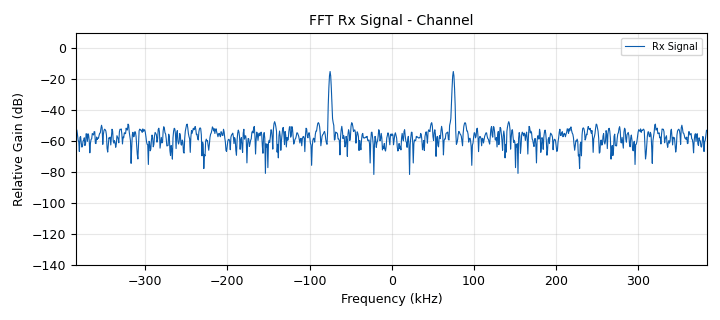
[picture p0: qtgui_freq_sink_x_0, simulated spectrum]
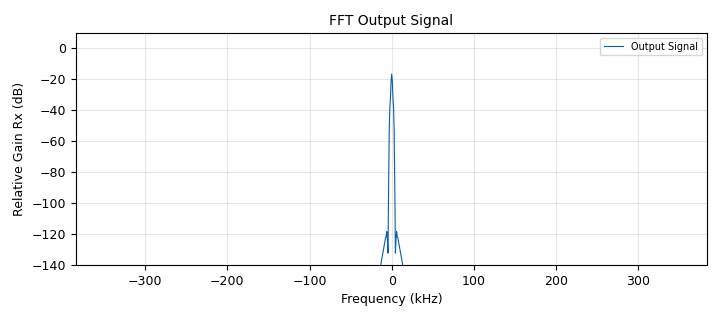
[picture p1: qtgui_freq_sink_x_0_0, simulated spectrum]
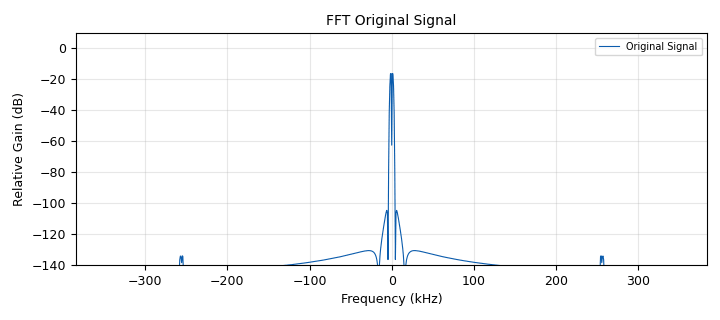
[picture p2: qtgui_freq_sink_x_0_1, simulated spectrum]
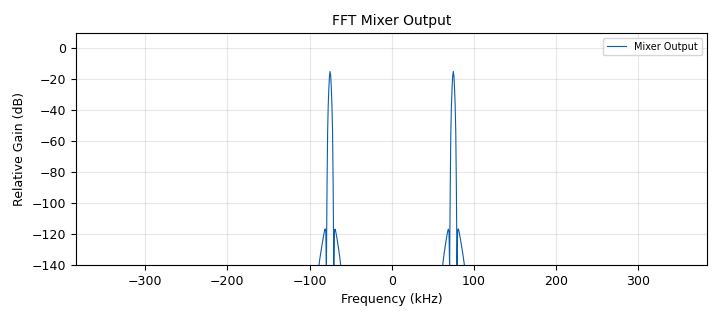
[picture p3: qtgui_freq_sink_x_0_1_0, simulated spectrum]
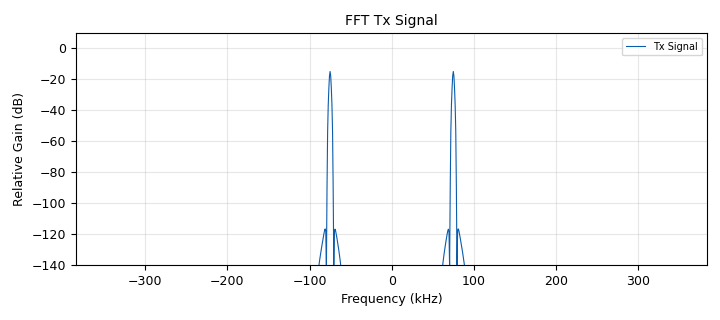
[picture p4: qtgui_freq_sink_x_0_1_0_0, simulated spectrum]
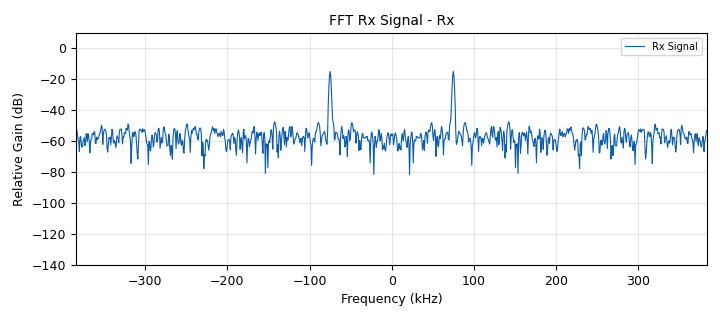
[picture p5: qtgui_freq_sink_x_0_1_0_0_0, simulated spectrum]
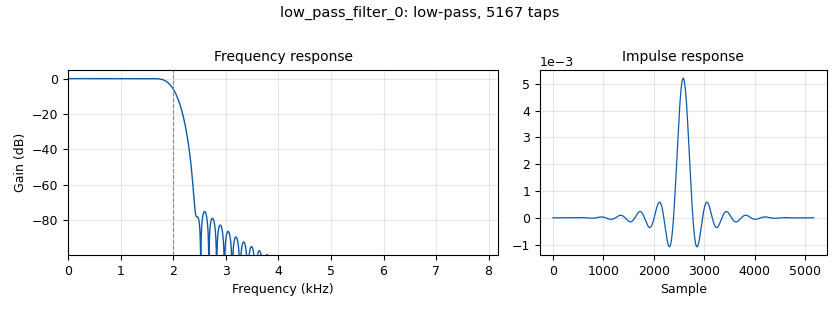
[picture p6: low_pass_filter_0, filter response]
options:
  parameters:
    author: 60383 60556 60841
    generate_options: qt_gui
    id: teste
    output_language: python
    title: LAB1 CSRF - 60383 60556 60841
  states: {}

blocks:
- name: a1
  id: variable_qtgui_range
  parameters:
    start: '0'
    step: '20e-3'
    stop: '2'
    value: '1'
  states: {}
- name: a2
  id: variable_qtgui_range
  parameters:
    start: '0'
    step: '20e-3'
    stop: '1'
    value: '0'
  states: {}
- name: a3
  id: variable_qtgui_range
  parameters:
    start: '0'
    step: '20e-3'
    stop: '1'
    value: '0'
  states: {}
- name: noise_level
  id: variable_qtgui_range
  parameters:
    start: '0'
    step: '5e-3'
    stop: '300e-3'
    value: '100e-3'
  states: {}
- name: samp_rate
  id: variable
  parameters:
    value: 768e3
  states: {}
- name: analog_const_source_x_0
  id: analog_const_source_x
  parameters:
    const: '0'
    type: float
  states: {}
- name: analog_noise_source_x_0_1
  id: analog_noise_source_x
  parameters:
    amp: noise_level
    noise_type: analog.GR_GAUSSIAN
    seed: '0'
    type: float
  states: {}
- name: analog_sig_source_x_0
  id: analog_sig_source_x
  parameters:
    amp: '1'
    freq: '1000'
    offset: '0'
    phase: '0'
    samp_rate: samp_rate
    type: float
    waveform: analog.GR_COS_WAVE
  states: {}
- name: analog_sig_source_x_1
  id: analog_sig_source_x
  parameters:
    amp: '1'
    freq: 75e3
    offset: '0'
    phase: '0'
    samp_rate: samp_rate
    type: float
    waveform: analog.GR_COS_WAVE
  states: {}
- name: analog_sig_source_x_1_0_0_0
  id: analog_sig_source_x
  parameters:
    amp: '1'
    freq: 75e3
    offset: '0'
    phase: '0'
    samp_rate: samp_rate
    type: float
    waveform: analog.GR_SIN_WAVE
  states: {}
- name: analog_sig_source_x_1_0_1
  id: analog_sig_source_x
  parameters:
    amp: '1'
    freq: 75e3
    offset: '0'
    phase: '0'
    samp_rate: samp_rate
    type: float
    waveform: analog.GR_COS_WAVE
  states: {}
- name: audio_sink_0
  id: audio_sink
  parameters:
    samp_rate: '48000'
  states: {state: disabled}
- name: blocks_add_const_vxx_0
  id: blocks_add_const_vxx
  parameters:
    const: '1'
    type: float
  states: {}
- name: blocks_add_xx_0
  id: blocks_add_xx
  parameters:
    type: float
  states: {}
- name: blocks_add_xx_0_0
  id: blocks_add_xx
  parameters:
    type: float
  states: {}
- name: blocks_add_xx_1
  id: blocks_add_xx
  parameters:
    num_inputs: '3'
    type: complex
  states: {}
- name: blocks_complex_to_float_0
  id: blocks_complex_to_float
  parameters: {}
  states: {}
- name: blocks_complex_to_float_0_0
  id: blocks_complex_to_float
  parameters: {}
  states: {}
- name: blocks_complex_to_float_1
  id: blocks_complex_to_float
  parameters: {}
  states: {}
- name: blocks_complex_to_mag_0
  id: blocks_complex_to_mag
  parameters: {}
  states: {}
- name: blocks_divide_xx_1
  id: blocks_divide_xx
  parameters:
    type: float
  states: {}
- name: blocks_exponentiate_const_cci_0
  id: blocks_exponentiate_const_cci
  parameters:
    exponent: '2'
  states: {}
- name: blocks_exponentiate_const_cci_0_0
  id: blocks_exponentiate_const_cci
  parameters:
    exponent: '3'
  states: {}
- name: blocks_float_to_complex_0_0
  id: blocks_float_to_complex
  parameters: {}
  states: {}
- name: blocks_float_to_complex_1
  id: blocks_float_to_complex
  parameters: {}
  states: {}
- name: blocks_multiply_const_vxx_0
  id: blocks_multiply_const_vxx
  parameters:
    const: '0.5'
    type: float
  states: {}
- name: blocks_multiply_const_vxx_0_0
  id: blocks_multiply_const_vxx
  parameters:
    const: '1'
    type: float
  states: {}
- name: blocks_multiply_const_vxx_0_1
  id: blocks_multiply_const_vxx
  parameters:
    const: a1
    type: complex
  states: {}
- name: blocks_multiply_const_vxx_0_1_0
  id: blocks_multiply_const_vxx
  parameters:
    const: a2
    type: complex
  states: {}
- name: blocks_multiply_const_vxx_0_1_1
  id: blocks_multiply_const_vxx
  parameters:
    const: a3
    type: complex
  states: {}
- name: blocks_multiply_const_vxx_0_2
  id: blocks_multiply_const_vxx
  parameters:
    const: '1'
    type: float
  states: {}
- name: blocks_multiply_xx_0
  id: blocks_multiply_xx
  parameters:
    type: float
  states: {}
- name: blocks_multiply_xx_0_0
  id: blocks_multiply_xx
  parameters:
    type: float
  states: {}
- name: blocks_multiply_xx_0_1
  id: blocks_multiply_xx
  parameters:
    type: float
  states: {}
- name: blocks_nlog10_ff_0
  id: blocks_nlog10_ff
  parameters:
    k: '0'
    n: '20'
  states: {}
- name: blocks_rms_xx_0
  id: blocks_rms_xx
  parameters:
    alpha: '0.0001'
    type: float
  states: {}
- name: blocks_rms_xx_1
  id: blocks_rms_xx
  parameters:
    alpha: '0.0001'
    type: float
  states: {}
- name: blocks_throttle2_0
  id: blocks_throttle2
  parameters:
    samples_per_second: samp_rate
    type: float
  states: {}
- name: blocks_throttle2_0_0
  id: blocks_throttle2
  parameters:
    samples_per_second: samp_rate
    type: float
  states: {}
- name: blocks_wavfile_source_0
  id: blocks_wavfile_source
  parameters:
    file: C:\Users\td\Desktop\uni\csrf\github\csrf\lab1\gnu-radio\pedro.wav
    repeat: 'True'
  states: {state: disabled}
- name: low_pass_filter_0
  id: low_pass_filter
  parameters:
    cutoff_freq: 2e3
    decim: '1'
    gain: '1'
    samp_rate: samp_rate
    type: fir_filter_fff
    width: '500'
    win: window.WIN_BLACKMAN
  states: {}
- name: low_pass_filter_0_0
  id: low_pass_filter
  parameters:
    cutoff_freq: 2e3
    decim: '1'
    gain: '1'
    samp_rate: samp_rate
    type: fir_filter_fff
    width: '500'
    win: window.WIN_BLACKMAN
  states: {}
- name: qtgui_freq_sink_x_0
  id: qtgui_freq_sink_x
  parameters:
    alias: Rx signal
    bw: samp_rate
    fc: '0'
    fftsize: '1024'
    grid: 'True'
    gui_hint: tab_manager_slave_ch@1:3,1
    label1: Rx Signal
    name: FFT Rx Signal - Channel
    type: float
    width1: '3'
  states: {}
- name: qtgui_freq_sink_x_0_0
  id: qtgui_freq_sink_x
  parameters:
    bw: samp_rate
    fc: '0'
    fftsize: '1024'
    grid: 'True'
    gui_hint: tab_manager_slave_slave_rx_output_signal@1
    label: Relative Gain Rx
    label1: Output Signal
    name: FFT Output Signal
    type: float
    width1: '3'
  states: {}
- name: qtgui_freq_sink_x_0_1
  id: qtgui_freq_sink_x
  parameters:
    bw: samp_rate
    fc: '0'
    fftsize: '1024'
    grid: 'True'
    gui_hint: tab_manager_slave_slave_tx_original_signal@1
    label1: Original Signal
    name: FFT Original Signal
    type: float
    width1: '3'
  states: {}
- name: qtgui_freq_sink_x_0_1_0
  id: qtgui_freq_sink_x
  parameters:
    bw: samp_rate
    fc: '0'
    fftsize: '1024'
    grid: 'True'
    gui_hint: tab_manager_slave_slave_tx_mixer_output@1
    label1: Mixer Output
    name: FFT Mixer Output
    type: float
    width1: '3'
  states: {}
- name: qtgui_freq_sink_x_0_1_0_0
  id: qtgui_freq_sink_x
  parameters:
    bw: samp_rate
    fc: '0'
    fftsize: '1024'
    gui_hint: tab_manager_slave_slave_tx_tx_signal@1
    label1: Tx Signal
    name: FFT Tx Signal
    type: float
    width1: '3'
  states: {}
- name: qtgui_freq_sink_x_0_1_0_0_0
  id: qtgui_freq_sink_x
  parameters:
    bw: samp_rate
    fc: '0'
    fftsize: '1024'
    grid: 'True'
    gui_hint: tab_manager_slave_slave_rx_rx_signal@1
    label1: Rx Signal
    name: FFT Rx Signal - Rx
    type: float
    width1: '3'
  states: {}
- name: qtgui_freq_sink_x_0_1_0_0_0_0_0
  id: qtgui_freq_sink_x
  parameters:
    bw: samp_rate
    fc: '0'
    fftsize: '1024'
    grid: 'True'
    gui_hint: tab_manager_slave_ch@1:2,1
    label1: Tx Signal
    name: FFT Tx Signal - Channel
    type: float
    width1: '3'
  states: {}
- name: qtgui_number_sink_snr_freqfreq
  id: qtgui_number_sink
  parameters:
    color1: ("white", "black")
    graph_type: qtgui.NUM_GRAPH_HORIZ
    gui_hint: tab_manager_slave_ch@1:1,1
    label1: SNR
    max: '50'
    min: '-50'
    name: SNR(dB)
    type: float
    unit1: dB
  states: {}
- name: qtgui_number_sink_snr_time
  id: qtgui_number_sink
  parameters:
    color1: ("white", "black")
    graph_type: qtgui.NUM_GRAPH_HORIZ
    gui_hint: tab_manager_slave_ch@0:1,1
    label1: SNR
    max: '50'
    min: '-50'
    name: SNR(dB)
    type: float
    unit1: dB
  states: {}
- name: qtgui_time_sink_x_0_0_0_0
  id: qtgui_time_sink_x
  parameters:
    grid: 'True'
    gui_hint: tab_manager_slave_slave_rx_output_signal@0
    label1: Output Signal
    name: Output Signal
    size: '1024'
    srate: samp_rate
    type: float
    width1: '3'
    ymin: '0'
    yunit: V
  states: {}
- name: qtgui_time_sink_x_0_0_0_1
  id: qtgui_time_sink_x
  parameters:
    grid: 'True'
    gui_hint: tab_manager_slave_slave_tx_original_signal@0
    label1: Original Signal
    name: Original Signal
    size: '1024'
    srate: samp_rate
    type: float
    update_time: '0.1'
    width1: '3'
    ymax: '2'
    ymin: '-2'
    yunit: V
  states: {}
- name: qtgui_time_sink_x_0_0_0_1_0
  id: qtgui_time_sink_x
  parameters:
    grid: 'True'
    gui_hint: tab_manager_slave_slave_tx_mixer_output@0
    label1: Mixer Output
    name: Mixer Output
    size: '1024'
    srate: samp_rate
    type: float
    width1: '3'
    ymax: '2'
    ymin: '-2'
    yunit: V
  states: {}
- name: qtgui_time_sink_x_0_0_0_1_0_0
  id: qtgui_time_sink_x
  parameters:
    grid: 'True'
    gui_hint: 'tab_manager_slave_slave_tx_tx_signal@0 '
    label1: Tx Signal
    name: Tx Signal
    size: '1024'
    srate: samp_rate
    type: float
    width1: '3'
    ymax: '3'
    ymin: '-3'
    yunit: V
  states: {}
- name: qtgui_time_sink_x_0_0_0_1_0_0_0
  id: qtgui_time_sink_x
  parameters:
    grid: 'True'
    gui_hint: tab_manager_slave_slave_rx_rx_signal@0
    label1: Rx Signal
    name: Rx Signal - Rx
    size: '1024'
    srate: samp_rate
    type: float
    width1: '3'
    ymax: '2'
    ymin: '-2'
    yunit: V
  states: {}
- name: qtgui_time_sink_x_0_0_0_1_0_0_0_0_0
  id: qtgui_time_sink_x
  parameters:
    grid: 'True'
    gui_hint: 'tab_manager_slave_ch@0 : 3,1'
    label1: Rx Signal
    name: Rx Signal - Channel
    size: '1024'
    srate: samp_rate
    type: float
    width1: '3'
    ymax: '2'
    ymin: '-2'
    yunit: V
  states: {}
- name: qtgui_time_sink_x_0_0_0_1_0_0_0_0_1
  id: qtgui_time_sink_x
  parameters:
    grid: 'True'
    gui_hint: tab_manager_slave_ch@0:2,1
    label1: Tx Signal
    name: Tx Signal - Channel
    size: '1024'
    srate: samp_rate
    type: float
    width1: '3'
    ymax: '2'
    ymin: '-2'
    yunit: V
  states: {}
- name: tab_manager_master
  id: qtgui_tab_widget
  parameters:
    label0: Transmitter
    label1: Channel
    label2: Receiver
    num_tabs: '3'
  states: {}
- name: tab_manager_slave_ch
  id: qtgui_tab_widget
  parameters:
    gui_hint: tab_manager_master@1
    label0: Time
    label1: Frequency
    num_tabs: '2'
  states: {}
- name: tab_manager_slave_rx
  id: qtgui_tab_widget
  parameters:
    gui_hint: tab_manager_master@2
    label0: Rx signal
    label1: Output Signal
    num_tabs: '2'
  states: {}
- name: tab_manager_slave_slave_rx_output_signal
  id: qtgui_tab_widget
  parameters:
    gui_hint: tab_manager_slave_rx@1
    label0: Time
    label1: Frequency
    num_tabs: '2'
  states: {}
- name: tab_manager_slave_slave_rx_rx_signal
  id: qtgui_tab_widget
  parameters:
    gui_hint: tab_manager_slave_rx@0
    label0: Time
    label1: Frequency
    num_tabs: '2'
  states: {}
- name: tab_manager_slave_slave_tx_mixer_output
  id: qtgui_tab_widget
  parameters:
    gui_hint: tab_manager_slave_tx@1
    label0: Time
    label1: Frequency
    num_tabs: '2'
  states: {}
- name: tab_manager_slave_slave_tx_original_signal
  id: qtgui_tab_widget
  parameters:
    gui_hint: tab_manager_slave_tx@0
    label0: Time
    label1: Frequency
    num_tabs: '2'
  states: {}
- name: tab_manager_slave_slave_tx_tx_signal
  id: qtgui_tab_widget
  parameters:
    gui_hint: tab_manager_slave_tx@2
    label0: Time
    label1: Frequency
    num_tabs: '2'
  states: {}
- name: tab_manager_slave_tx
  id: qtgui_tab_widget
  parameters:
    gui_hint: tab_manager_master@0
    label0: Original Signal
    label1: Mixer Output
    label2: Tx signal
    num_tabs: '3'
  states: {}
- name: virtual_sink_0
  id: virtual_sink
  parameters:
    stream_id: tx_signal
  states: {}
- name: virtual_sink_0_0
  id: virtual_sink
  parameters:
    stream_id: noise_signal
  states: {}
- name: virtual_source_0
  id: virtual_source
  parameters:
    stream_id: tx_signal
  states: {}
- name: virtual_source_0_0
  id: virtual_source
  parameters:
    stream_id: noise_signal
  states: {}
- name: virtual_source_0_0_0
  id: virtual_source
  parameters:
    stream_id: noise_signal
  states: {}
- name: virtual_source_0_1
  id: virtual_source
  parameters:
    stream_id: tx_signal
  states: {}

connections:
- [analog_const_source_x_0, '0', blocks_float_to_complex_0_0, '1']
- [analog_noise_source_x_0_1, '0', virtual_sink_0_0, '0']
- [analog_sig_source_x_0, '0', blocks_throttle2_0, '0']
- [analog_sig_source_x_0, '0', qtgui_freq_sink_x_0_1, '0']
- [analog_sig_source_x_0, '0', qtgui_time_sink_x_0_0_0_1, '0']
- [analog_sig_source_x_1, '0', blocks_multiply_const_vxx_0_0, '0']
- [analog_sig_source_x_1_0_0_0, '0', blocks_multiply_xx_0_1, '1']
- [analog_sig_source_x_1_0_1, '0', blocks_multiply_xx_0_0, '0']
- [blocks_add_const_vxx_0, '0', blocks_multiply_xx_0, '0']
- [blocks_add_xx_0, '0', blocks_multiply_const_vxx_0_2, '0']
- [blocks_add_xx_0, '0', qtgui_freq_sink_x_0_1_0_0_0, '0']
- [blocks_add_xx_0, '0', qtgui_time_sink_x_0_0_0_1_0_0_0, '0']
- [blocks_add_xx_0_0, '0', blocks_throttle2_0_0, '0']
- [blocks_add_xx_1, '0', blocks_complex_to_float_1, '0']
- [blocks_add_xx_1, '0', virtual_sink_0, '0']
- [blocks_complex_to_float_0, '0', blocks_add_xx_0, '0']
- [blocks_complex_to_float_0_0, '0', blocks_add_xx_0_0, '0']
- [blocks_complex_to_float_0_0, '0', blocks_rms_xx_0, '0']
- [blocks_complex_to_float_0_0, '0', qtgui_freq_sink_x_0_1_0_0_0_0_0, '0']
- [blocks_complex_to_float_0_0, '0', qtgui_time_sink_x_0_0_0_1_0_0_0_0_1, '0']
- [blocks_complex_to_float_1, '0', qtgui_freq_sink_x_0_1_0_0, '0']
- [blocks_complex_to_float_1, '0', qtgui_time_sink_x_0_0_0_1_0_0, '0']
- [blocks_complex_to_mag_0, '0', audio_sink_0, '0']
- [blocks_complex_to_mag_0, '0', qtgui_freq_sink_x_0_0, '0']
- [blocks_complex_to_mag_0, '0', qtgui_time_sink_x_0_0_0_0, '0']
- [blocks_divide_xx_1, '0', blocks_nlog10_ff_0, '0']
- [blocks_exponentiate_const_cci_0, '0', blocks_multiply_const_vxx_0_1_0, '0']
- [blocks_exponentiate_const_cci_0_0, '0', blocks_multiply_const_vxx_0_1_1, '0']
- [blocks_float_to_complex_0_0, '0', blocks_exponentiate_const_cci_0, '0']
- [blocks_float_to_complex_0_0, '0', blocks_exponentiate_const_cci_0_0, '0']
- [blocks_float_to_complex_0_0, '0', blocks_multiply_const_vxx_0_1, '0']
- [blocks_float_to_complex_1, '0', blocks_complex_to_mag_0, '0']
- [blocks_multiply_const_vxx_0, '0', blocks_add_const_vxx_0, '0']
- [blocks_multiply_const_vxx_0_0, '0', blocks_multiply_xx_0, '1']
- [blocks_multiply_const_vxx_0_1, '0', blocks_add_xx_1, '0']
- [blocks_multiply_const_vxx_0_1_0, '0', blocks_add_xx_1, '1']
- [blocks_multiply_const_vxx_0_1_1, '0', blocks_add_xx_1, '2']
- [blocks_multiply_const_vxx_0_2, '0', blocks_multiply_xx_0_0, '1']
- [blocks_multiply_const_vxx_0_2, '0', blocks_multiply_xx_0_1, '0']
- [blocks_multiply_xx_0, '0', blocks_float_to_complex_0_0, '0']
- [blocks_multiply_xx_0, '0', qtgui_freq_sink_x_0_1_0, '0']
- [blocks_multiply_xx_0, '0', qtgui_time_sink_x_0_0_0_1_0, '0']
- [blocks_multiply_xx_0_0, '0', low_pass_filter_0, '0']
- [blocks_multiply_xx_0_1, '0', low_pass_filter_0_0, '0']
- [blocks_nlog10_ff_0, '0', qtgui_number_sink_snr_freqfreq, '0']
- [blocks_nlog10_ff_0, '0', qtgui_number_sink_snr_time, '0']
- [blocks_rms_xx_0, '0', blocks_divide_xx_1, '0']
- [blocks_rms_xx_1, '0', blocks_divide_xx_1, '1']
- [blocks_throttle2_0, '0', blocks_multiply_const_vxx_0, '0']
- [blocks_throttle2_0_0, '0', qtgui_freq_sink_x_0, '0']
- [blocks_throttle2_0_0, '0', qtgui_time_sink_x_0_0_0_1_0_0_0_0_0, '0']
- [blocks_wavfile_source_0, '0', blocks_throttle2_0, '0']
- [blocks_wavfile_source_0, '0', qtgui_freq_sink_x_0_1, '0']
- [blocks_wavfile_source_0, '0', qtgui_time_sink_x_0_0_0_1, '0']
- [low_pass_filter_0, '0', blocks_float_to_complex_1, '0']
- [low_pass_filter_0_0, '0', blocks_float_to_complex_1, '1']
- [virtual_source_0, '0', blocks_complex_to_float_0, '0']
- [virtual_source_0_0, '0', blocks_add_xx_0_0, '1']
- [virtual_source_0_0, '0', blocks_rms_xx_1, '0']
- [virtual_source_0_0_0, '0', blocks_add_xx_0, '1']
- [virtual_source_0_1, '0', blocks_complex_to_float_0_0, '0']

metadata:
  file_format: 1
  grc_version: 3.10.10.0
